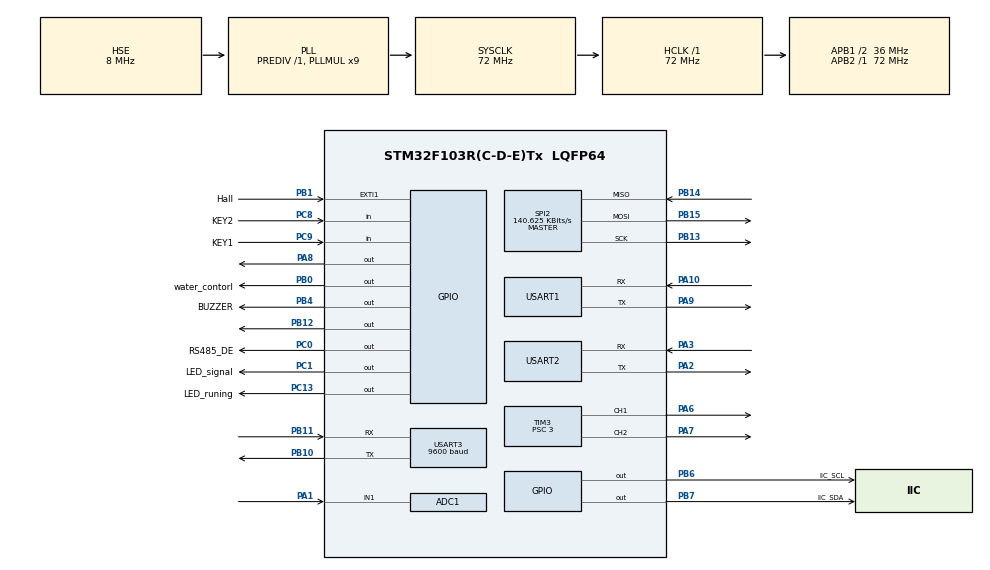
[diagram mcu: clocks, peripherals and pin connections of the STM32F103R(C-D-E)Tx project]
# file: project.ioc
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ADC1.Channel-2\#ChannelRegularConversion=ADC_CHANNEL_1
ADC1.NbrOfConversionFlag=1
ADC1.Rank-2\#ChannelRegularConversion=1
ADC1.SamplingTime-2\#ChannelRegularConversion=ADC_SAMPLETIME_55CYCLES_5
ADC1.master=1
FREERTOS.Mutexes01=I2C_mutex,Dynamic,NULL,Available
FREERTOS.Tasks01=defaultTask,24,384,StartDefaultTask,Default,NULL,Dynamic,NULL,NULL;task_collect,27,192,StartTaskCollect,Default,NULL,Dynamic,NULL,NULL;task_control,36,256,StartTaskControl,Default,NULL,Dynamic,NULL,NULL;task_show,18,256,StartTaskShow,Default,NULL,Dynamic,NULL,NULL
FREERTOS.configCHECK_FOR_STACK_OVERFLOW=2
FREERTOS.configTOTAL_HEAP_SIZE=16384
Mcu.Family=STM32F1
Mcu.Name=STM32F103R(C-D-E)Tx
Mcu.Package=LQFP64
NVIC.EXTI1_IRQn=true\:5\:0\:true\:false\:true\:true\:true\:true\:true
NVIC.PriorityGroup=NVIC_PRIORITYGROUP_4
NVIC.TIM2_IRQn=true\:5\:0\:false\:false\:true\:true\:true\:true\:true
NVIC.TIM4_IRQn=true\:15\:0\:false\:false\:true\:false\:false\:true\:true
NVIC.TimeBase=TIM4_IRQn
NVIC.TimeBaseIP=TIM4
NVIC.USART1_IRQn=true\:5\:0\:false\:false\:true\:true\:true\:true\:true
NVIC.USART2_IRQn=true\:5\:0\:true\:false\:true\:true\:true\:true\:true
NVIC.USART3_IRQn=true\:5\:0\:true\:false\:true\:true\:true\:true\:true
PA1.Signal=ADCx_IN1
PA10.Mode=Asynchronous
PA10.Signal=USART1_RX
PA13.Mode=Serial_Wire
PA13.Signal=SYS_JTMS-SWDIO
PA14.Mode=Serial_Wire
PA14.Signal=SYS_JTCK-SWCLK
PA2.Mode=Asynchronous
PA2.Signal=USART2_TX
PA3.Mode=Asynchronous
PA3.Signal=USART2_RX
PA6.Signal=S_TIM3_CH1
PA7.Signal=S_TIM3_CH2
PA8.Signal=GPIO_Output
PA9.Mode=Asynchronous
PA9.Signal=USART1_TX
PB0.GPIO_Label=water_contorl
PB0.Signal=GPIO_Output
PB1.GPIO_Label=Hall
PB1.GPIO_ModeDefaultEXTI=GPIO_MODE_IT_RISING
PB1.GPIO_PuPd=GPIO_PULLUP
PB1.Signal=GPXTI1
PB10.Mode=Asynchronous
PB10.Signal=USART3_TX
PB11.Mode=Asynchronous
PB11.Signal=USART3_RX
PB12.PinState=GPIO_PIN_SET
PB12.Signal=GPIO_Output
PB13.Mode=Full_Duplex_Master
PB13.Signal=SPI2_SCK
PB14.GPIO_PuPd=GPIO_PULLUP
PB14.Mode=Full_Duplex_Master
PB14.Signal=SPI2_MISO
PB15.Mode=Full_Duplex_Master
PB15.Signal=SPI2_MOSI
PB4.GPIO_Label=BUZZER
PB4.Signal=GPIO_Output
PB6.GPIO_Label=IIC_SCL
PB6.Signal=GPIO_Output
PB7.GPIO_Label=IIC_SDA
PB7.GPIO_ModeDefaultOutputPP=GPIO_MODE_OUTPUT_OD
PB7.GPIO_PuPd=GPIO_NOPULL
PB7.Signal=GPIO_Output
PC0.GPIO_Label=RS485_DE
PC0.Signal=GPIO_Output
PC1.GPIO_Label=LED_signal
PC1.Signal=GPIO_Output
PC13-TAMPER-RTC.GPIO_Label=LED_runing
PC13-TAMPER-RTC.Signal=GPIO_Output
PC8.GPIO_Label=KEY2
PC8.GPIO_PuPd=GPIO_PULLUP
PC8.Signal=GPIO_Input
PC9.GPIO_Label=KEY1
PC9.GPIO_PuPd=GPIO_PULLUP
PC9.Signal=GPIO_Input
PD0-OSC_IN.Mode=HSE-External-Oscillator
PD0-OSC_IN.Signal=RCC_OSC_IN
PD1-OSC_OUT.Mode=HSE-External-Oscillator
PD1-OSC_OUT.Signal=RCC_OSC_OUT
ProjectManager.HeapSize=0x200
ProjectManager.StackSize=0x800
ProjectManager.TargetToolchain=MDK-ARM V5.32
RCC.ADCPresc=RCC_ADCPCLK2_DIV6
RCC.AHBFreq_Value=72000000
RCC.APB1CLKDivider=RCC_HCLK_DIV2
RCC.APB1Freq_Value=36000000
RCC.APB1TimFreq_Value=72000000
RCC.APB2Freq_Value=72000000
RCC.APB2TimFreq_Value=72000000
RCC.HCLKFreq_Value=72000000
RCC.PLLMUL=RCC_PLL_MUL9
RCC.PLLSourceVirtual=RCC_PLLSOURCE_HSE
RCC.SYSCLKFreq_VALUE=72000000
RCC.SYSCLKSource=RCC_SYSCLKSOURCE_PLLCLK
RCC.USBFreq_Value=72000000
SH.ADCx_IN1.0=ADC1_IN1,IN1
SH.S_TIM3_CH1.0=TIM3_CH1,PWM Generation1 CH1
SH.S_TIM3_CH2.0=TIM3_CH2,PWM Generation2 CH2
SPI2.BaudRatePrescaler=SPI_BAUDRATEPRESCALER_256
SPI2.CalculateBaudRate=140.625 KBits/s
SPI2.Direction=SPI_DIRECTION_2LINES
SPI2.Mode=SPI_MODE_MASTER
SPI2.VirtualType=VM_MASTER
TIM3.AutoReloadPreload=TIM_AUTORELOAD_PRELOAD_ENABLE
TIM3.Channel-PWM\ Generation1\ CH1=TIM_CHANNEL_1
TIM3.Channel-PWM\ Generation2\ CH2=TIM_CHANNEL_2
TIM3.Period=899
TIM3.Prescaler=3
USART1.VirtualMode=VM_ASYNC
USART2.VirtualMode=VM_ASYNC
USART3.BaudRate=9600
USART3.VirtualMode=VM_ASYNC
VP_FATFS_VS_Generic.Mode=User_defined
VP_FREERTOS_VS_CMSIS_V2.Mode=CMSIS_V2
VP_SYS_VS_tim4.Mode=TIM4
VP_TIM2_VS_ClockSourceINT.Mode=Internal
board=custom

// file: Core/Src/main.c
/* USER CODE BEGIN Header */
/**
  ******************************************************************************
  * @file           : main.c
  * @brief          : Main program body
  ******************************************************************************
  * @attention
  *
  * Copyright (c) 2026 STMicroelectronics.
  * All rights reserved.
  *
  * This software is licensed under terms that can be found in the LICENSE file
  * in the root directory of this software component.
  * If no LICENSE file comes with this software, it is provided AS-IS.
  *
  ******************************************************************************
  */
/* USER CODE END Header */
#include "main.h"
#include "cmsis_os.h"
#include "adc.h"
#include "fatfs.h"
#include "spi.h"
#include "tim.h"
#include "usart.h"
#include "gpio.h"

/* USER CODE BEGIN Includes */
#include <stdio.h>
#include "log.h"
#include "mb.h"   /* Modbus 协议栈头(内含 port.h 类型定义 + mbport.h 接口声明) */
/* USER CODE END Includes */

/* USER CODE BEGIN PD */
/* 栈金丝雀:栈大小必须与 startup 文件 Stack_Size 一致(App:0x800=2KB,
   2026-08-18 从 1KB 加大——HAL 初始化+printf 链实际用量比 1KB 紧张,
   实测打印曾出现扫描越界,先给足余量再谈检测);
   栈底 = 栈顶(链接器符号 __initial_sp) - 栈大小,不硬编码地址
   (代码改动会移动栈位置,硬编码必错) */
#define STACK_SIZE_BYTES  (2048u)
#define STACK_BOTTOM      ((uint32_t)&__initial_sp - STACK_SIZE_BYTES)
#define CANARY_WORD       0xA5A5A5A5u   /* 哨兵模式 */
/* USER CODE END PD */

/* USER CODE BEGIN PV */
/* 诊断:填哨兵时的初始化栈用量(栈顶-当时SP)。定义在 USER CODE BEGIN 4,
   此处提前声明——BEGIN 2 的 LOG_INFO 要打印它(调用早于定义会隐式声明报错) */
static uint32_t g_canary_sp_depth;
extern uint32_t __initial_sp;   /* 栈顶(startup 文件导出的标号)。提前声明:BEGIN 1
                                   的 canary_init 展开 STACK_BOTTOM 宏要用(定义在 BEGIN 4) */
/* USER CODE END PV */

void SystemClock_Config(void);
void MX_FREERTOS_Init(void);
/* USER CODE BEGIN PFP */
static void stack_canary_init(void);      /* 栈金丝雀:填哨兵(实现见 USER CODE BEGIN 4) */
static uint32_t stack_used_peak(void);    /* 栈金丝雀:历史最深使用,已用字节(实现见 USER CODE BEGIN 4) */
/* USER CODE END PFP */

int main(void)
{

  /* USER CODE BEGIN 1 */
  /* OTA 双分区:向量表由 Boot 跳转前设置(Boot/main.c jump_to_app:
     SCB->VTOR = 目标分区地址+0x200,住 A 设 0x08010200、住 B 设 0x08020200),
     App 不再自设 VTOR。
     2026-08-19 修复:原代码 SCB->VTOR = Image$$ER_IROM1$$Base 是编译时常量
     (恒=0x08010200,旧注释"随烧录位置跟随"是错的)——从 B 区运行时会把 Boot
     设好的正确值改回 A 区,中断向量指 A 区旧固件(靠旧固件碰巧兼容才没炸,
     A 区损坏则 B 区运行时中断必 HardFault)。删掉后双分区都真正正确。 */
  /* 栈金丝雀:填哨兵(必须在 HAL_Init 之前!实测 2026-08-18:放 BEGIN 2 太晚,
     HAL 初始化期的栈使用不被哨兵覆盖,used 只显示 8B 假象;
     放这里才能让哨兵覆盖初始化期,扫描才看得到真实峰值——与 Boot 同款时机) */
  stack_canary_init();
  /* USER CODE END 1 */

  /* MCU Configuration--------------------------------------------------------*/

  /* Reset of all peripherals, Initializes the Flash interface and the Systick. */
  HAL_Init();

  /* Configure the system clock */
  SystemClock_Config();

  /* Initialize all configured peripherals */
  MX_GPIO_Init();
  MX_ADC1_Init();
  MX_TIM3_Init();
  MX_USART2_UART_Init();
  MX_USART3_UART_Init();
  MX_USART1_UART_Init();
  MX_TIM2_Init();
  MX_SPI2_Init();
  MX_FATFS_Init();
  /* USER CODE BEGIN 2 */
  log_init();   /* 初始化日志系统（必须在调度器启动前调用） */
  /* 打印 MSP 栈真实使用:used=已用字节/总字节;init_sp=填哨兵时刻的栈深度
     (填哨兵已提前到 BEGIN 1,此时扫描才看得到 HAL 初始化期的真实用量;
     used 接近总大小说明初始化链栈紧张,栈还要加大) */
  LOG_INFO("stack: msp used=%luB/%uB (init_sp=%luB)",
           (unsigned long)stack_used_peak(), STACK_SIZE_BYTES,
           (unsigned long)g_canary_sp_depth);
  /* USER CODE END 2 */

  /* Init scheduler */
  osKernelInitialize();  /* Call init function for freertos objects (in cmsis_os2.c) */
  MX_FREERTOS_Init();

  /* Start scheduler */
  osKernelStart();

  /* We should never get here as control is now taken by the scheduler */

  /* Infinite loop */
  /* USER CODE BEGIN WHILE */
  /* 注意：osKernelStart() 启动调度器后永不返回，
     用户代码必须写在任务函数（freertos.c 的 StartDefaultTask）里 */
  while (1)
  {
    /* USER CODE END WHILE */

  }
}

void SystemClock_Config(void)
{
  RCC_OscInitTypeDef RCC_OscInitStruct = {0};
  RCC_ClkInitTypeDef RCC_ClkInitStruct = {0};
  RCC_PeriphCLKInitTypeDef PeriphClkInit = {0};

  /** Initializes the RCC Oscillators according to the specified parameters
  * in the RCC_OscInitTypeDef structure.
  */
  RCC_OscInitStruct.OscillatorType = RCC_OSCILLATORTYPE_HSE;
  RCC_OscInitStruct.HSEState = RCC_HSE_ON;
  RCC_OscInitStruct.HSEPredivValue = RCC_HSE_PREDIV_DIV1;
  RCC_OscInitStruct.HSIState = RCC_HSI_ON;
  RCC_OscInitStruct.PLL.PLLState = RCC_PLL_ON;
  RCC_OscInitStruct.PLL.PLLSource = RCC_PLLSOURCE_HSE;
  RCC_OscInitStruct.PLL.PLLMUL = RCC_PLL_MUL9;
  if (HAL_RCC_OscConfig(&RCC_OscInitStruct) != HAL_OK)
  {
    Error_Handler();
  }

  /** Initializes the CPU, AHB and APB buses clocks
  */
  RCC_ClkInitStruct.ClockType = RCC_CLOCKTYPE_HCLK|RCC_CLOCKTYPE_SYSCLK
                              |RCC_CLOCKTYPE_PCLK1|RCC_CLOCKTYPE_PCLK2;
  RCC_ClkInitStruct.SYSCLKSource = RCC_SYSCLKSOURCE_PLLCLK;
  RCC_ClkInitStruct.AHBCLKDivider = RCC_SYSCLK_DIV1;
  RCC_ClkInitStruct.APB1CLKDivider = RCC_HCLK_DIV2;
  RCC_ClkInitStruct.APB2CLKDivider = RCC_HCLK_DIV1;

  if (HAL_RCC_ClockConfig(&RCC_ClkInitStruct, FLASH_LATENCY_2) != HAL_OK)
  {
    Error_Handler();
  }
  PeriphClkInit.PeriphClockSelection = RCC_PERIPHCLK_ADC;
  PeriphClkInit.AdcClockSelection = RCC_ADCPCLK2_DIV6;
  if (HAL_RCCEx_PeriphCLKConfig(&PeriphClkInit) != HAL_OK)
  {
    Error_Handler();
  }
}

/* USER CODE BEGIN 4 */
/* ==================== 栈金丝雀:MSP 栈运行时溢出检测 ==================== */
/* 说明:FreeRTOS 任务栈溢出已由 vApplicationStackOverflowHook(freertos.c
   USER CODE 区)负责;这里管 MSP 栈(2KB)——调度器启动前的 HAL 初始化、
   运行期中断嵌套都用它。F103 无 MPU 硬件拦截,金丝雀是裸机最便宜
   的运行时防线(哨兵被踩是永久印记,事后检查也能发现)。
   2026-08-18 修复:① 扫描补栈顶边界(原无边界检查,曾越界读);
   ② 返回语义改为"已用字节"(原返回的是"未用",打印标签却写 peak,
   实测 Boot 打印 1708 实为未用,App 打印 1024 实为扫描越界——误导) */

extern uint32_t __initial_sp;   /* 栈顶(startup 文件导出的标号) */

static uint8_t g_stack_overflowed = 0;   /* 溢出标志:只报一次 */

static uint32_t g_canary_sp_depth = 0;   /* 诊断:填哨兵时的初始化栈用量(栈顶-当时SP) */

static void stack_canary_init(void)      /* 填哨兵:只填 [栈底, 当前SP) 未用区 */
{
  uint32_t *p = (uint32_t *)STACK_BOTTOM;//栈底
  uint32_t *sp = (uint32_t *)__get_MSP();//当前SP
  g_canary_sp_depth = (uint32_t)&__initial_sp - (uint32_t)sp; /* 记录初始化阶段栈用量 */
  while (p < sp)
  {
    *p++ = CANARY_WORD;
  }
}

static uint32_t stack_used_peak(void)    /* 已用字节 = 栈顶 - 最深水位(第一个非哨兵) */
{
  uint32_t *p = (uint32_t *)STACK_BOTTOM;
  uint32_t *stack_top = (uint32_t *)&__initial_sp;  /* 栈顶:扫描不许越过(栈外是.bss等) */
  while (*p == CANARY_WORD && p < stack_top)//遍历栈底向上,找第一个被踩的哨兵
  {
    p++;
  }
  return (uint32_t)stack_top - (uint32_t)p;  /* 栈顶-最深水位 = 已用字节 */
}

void stack_overflow_check(void)          /* 跨文件调用(控制任务每 100ms 一拍) */
{
  if (g_stack_overflowed)
  {
    return;
  }
  if (*(uint32_t *)STACK_BOTTOM != CANARY_WORD)
  {
    g_stack_overflowed = 1;
    LOG_WARN("stack overflow: MSP bottom canary destroyed!");
  }
}
/* USER CODE END 4 */

void HAL_TIM_PeriodElapsedCallback(TIM_HandleTypeDef *htim)
{
  /* USER CODE BEGIN Callback 0 */
  if (htim->Instance == TIM2)     /* Modbus 3.5T 字符超时:帧收完(porttimer.c) */
  {
    vMBPortTimersDisable();       /* 单次超时,停表 */
    pxMBPortCBTimerExpired();     /* 通知协议栈:这一帧收完了 */
  }
  /* USER CODE END Callback 0 */
  if (htim->Instance == TIM4)
  {
    HAL_IncTick();
  }
}

void Error_Handler(void)
{
  __disable_irq();
  while (1)
  {
  }
}

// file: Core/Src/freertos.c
/* USER CODE BEGIN Header */
/**
  ******************************************************************************
  * File Name          : freertos.c
  * Description        : Code for freertos applications
  ******************************************************************************
  * @attention
  *
  * Copyright (c) 2026 STMicroelectronics.
  * All rights reserved.
  *
  * This software is licensed under terms that can be found in the LICENSE file
  * in the root directory of this software component.
  * If no LICENSE file comes with this software, it is provided AS-IS.
  *
  ******************************************************************************
  */
/* USER CODE END Header */

#include "FreeRTOS.h"
#include "task.h"
#include "main.h"
#include "cmsis_os.h"

/* USER CODE BEGIN Includes */
#include "log.h"
#include "MYOLED.h"
#include "OLED_Data.h"
#include "soil_moisture.h"
#include "BH1750.h"
#include "AHT20.h"
#include "rule_engine.h"
#include "MySensor.h"
#include "light.h"
#include "pump.h"
#include "fan.h"
#include "dsp_soft_IIC.h"
#include "bsp_hal_counter.h"
#include "stall_detect.h"
#include "buzzer.h"
#include "oled_page.h"
#include "debug_cmd.h"
#include "mb.h"
#include "modbus_reg.h"
#include "param.h"
#include "PID.h"
#include "nvs.h"
#include "sd_log.h"
#include "ota.h"
extern void stack_overflow_check(void);   /* 栈金丝雀周期检查(main.c USER CODE 区定义) */
/* USER CODE END Includes */

/* USER CODE BEGIN Variables */
/* 猫动画帧表:按播放顺序排列(指针数组,零拷贝,仅占 8*4=32 字节) */
const uint8_t *const cat_frames[] = {
	bitmap_1,  bitmap_3,  bitmap_6,  bitmap_8,
	bitmap_10, bitmap_13, bitmap_15, bitmap_18
};
#define CAT_FRAME_COUNT  (sizeof(cat_frames) / sizeof(cat_frames[0]))	/* 自动计算帧数,加帧删帧不用改循环 */

/* 风机目标占空比(0~100):调试命令(手动模式)可修改,温度 PID 接入后由 PID 写 */
volatile uint8_t g_fan_duty = 0;

/* USER CODE END Variables */
/* Definitions for defaultTask */
osThreadId_t defaultTaskHandle;
const osThreadAttr_t defaultTask_attributes = {
  .name = "defaultTask",
  .stack_size = 384 * 4,
  .priority = (osPriority_t) osPriorityNormal,
};
/* Definitions for task_collect */
osThreadId_t task_collectHandle;
const osThreadAttr_t task_collect_attributes = {
  .name = "task_collect",
  .stack_size = 192 * 4,
  .priority = (osPriority_t) osPriorityNormal3,
};
/* Definitions for task_control */
osThreadId_t task_controlHandle;
const osThreadAttr_t task_control_attributes = {
  .name = "task_control",
  .stack_size = 256 * 4,
  .priority = (osPriority_t) osPriorityAboveNormal4,
};
/* Definitions for task_show */
osThreadId_t task_showHandle;
const osThreadAttr_t task_show_attributes = {
  .name = "task_show",
  .stack_size = 256 * 4,
  .priority = (osPriority_t) osPriorityBelowNormal2,
};
/* Definitions for I2C_mutex */
osMutexId_t I2C_mutexHandle;
const osMutexAttr_t I2C_mutex_attributes = {
  .name = "I2C_mutex"
};

/* USER CODE BEGIN FunctionPrototypes */
void DebugCmd_Task(void *argument);   /* 调试命令任务体(自创建任务,原型必须放 USER CODE 区,防被 CubeMX 清掉) */
void Modbus_Task(void *argument);     /* Modbus 从机任务(自创建,同 debug_cmd 约定) */
/* USER CODE END FunctionPrototypes */

void StartDefaultTask(void *argument);
void StartTaskCollect(void *argument);
void StartTaskControl(void *argument);
void StartTaskShow(void *argument);

void MX_FREERTOS_Init(void); /* (MISRA C 2004 rule 8.1) */

/* Hook prototypes */
void vApplicationStackOverflowHook(xTaskHandle xTask, signed char *pcTaskName);

/* USER CODE BEGIN 4 */
void vApplicationStackOverflowHook(xTaskHandle xTask, signed char *pcTaskName)
{
   /* 栈溢出钩子:某任务栈写穿了才会进到这里(开发期必须开着)
      停死在这里,调试器看调用栈即可定位是哪个任务、哪一层调用 */
   __disable_irq();          /* 关中断,防止其他任务继续破坏现场 */
   while (1);
}
/* USER CODE END 4 */

void MX_FREERTOS_Init(void) {
  /* USER CODE BEGIN Init */
  log_init();   /* 初始化日志系统（必须在调度器启动前调用） */
  SDLog_Init(); /* 初始化 SD 卡日志队列与事件锁（必须在调度器启动前调用） */
  /* USER CODE END Init */
  /* Create the mutex(es) */
  /* creation of I2C_mutex */
  I2C_mutexHandle = osMutexNew(&I2C_mutex_attributes);

  /* Create the thread(s) */
  /* creation of defaultTask */
  defaultTaskHandle = osThreadNew(StartDefaultTask, NULL, &defaultTask_attributes);

  /* creation of task_collect */
  task_collectHandle = osThreadNew(StartTaskCollect, NULL, &task_collect_attributes);

  /* creation of task_control */
  task_controlHandle = osThreadNew(StartTaskControl, NULL, &task_control_attributes);

  /* creation of task_show */
  task_showHandle = osThreadNew(StartTaskShow, NULL, &task_show_attributes);

  /* USER CODE BEGIN RTOS_THREADS */
  /* 调试命令任务:串口命令解析(低优先级,响应慢无所谓) */
  const osThreadAttr_t debugCmd_attributes = {
    .name = "debug_cmd",
    .stack_size = 256 * 4,
    .priority = (osPriority_t) osPriorityNormal,
  };
  osThreadNew(DebugCmd_Task, NULL, &debugCmd_attributes);

  /* Modbus 从机任务:RS485 轮询(中优先级,文档 02 任务⑥) */
  const osThreadAttr_t modbus_attributes = {
    .name = "modbus",
    .stack_size = 256 * 4,
    .priority = (osPriority_t) osPriorityNormal,
  };
  osThreadNew(Modbus_Task, NULL, &modbus_attributes);

  /* SD 卡日志任务:挂载 + 攒批落盘(最低优先级,写盘耗时不抢占任何控制/采集任务)。
     栈给 2KB:f_mount/f_open 栈消耗大,别学其他任务只给 1KB */
  const osThreadAttr_t sdlog_attributes = {
    .name = "sd_log",
    .stack_size = 512 * 4,
    .priority = (osPriority_t) osPriorityBelowNormal1,
  };
  osThreadNew(SDLog_Task, NULL, &sdlog_attributes);
  /* USER CODE END RTOS_THREADS */

}

void StartDefaultTask(void *argument)
{
  /* USER CODE BEGIN StartDefaultTask */
  HAL_GPIO_WritePin(GPIOA, GPIO_PIN_8, GPIO_PIN_RESET);//设置PA8为低电平,检查一下芯片运行状态
  LOG_INFO("runing");       /* 示例:信息级日志,自动带时间戳 */
  MyI2C_Init();                 /* 软件 I2C(PB6/PB7) */
  OLED_Init();                  /* OLED 初始化 + 清屏 */
  AHT20_Init();                 /*温湿度传感器初始化*/
  BH1750_Init();                /*光照传感器初始化*/
  SoilMoisture_Init();         /*土壤湿度传感器初始化*/
  HAL_Counter_Init();          /* 霍尔脉冲计数清零(PB1/EXTI1) */
  StallDetect_Init();          /* 堵转检测状态机复位 */
  DebugCmd_Init();             /* 启动串口命令接收(USART1 中断) */
  OLED_Clear();
  osDelay(35);
  float Light;
  BH1750_Read(&Light);
  LOG_INFO("Light: %f \n", Light);
  float Moisture;
  SoilMoisture_Read(&Moisture);
  LOG_INFO("Moisture: %f \n", Moisture);
  float Temperature, Humidity;
  AHT20_Read(&Temperature, &Humidity);//往后面放，AHT20上电到采集数据响应比较慢
  LOG_INFO("Temperature: %f, Humidity: %f \n", Temperature, Humidity);
  /* 猫动画已交给 task_show,本任务保留做测试(如需 I2C 访问记得加锁) */
  /* Infinite loop */
  for(;;)
  {
    osDelay(100);
  }
  /* USER CODE END StartDefaultTask */
}

void StartTaskCollect(void *argument)
{
  /* USER CODE BEGIN StartTaskCollect */
  /* 采集任务:每 500ms 刷新一次传感器快照
     软件 I2C(PB6/PB7)是共享总线,读传感器前必须拿 I2C 锁,
     与显示任务(OLED 同总线)互斥,防止两个任务同时敲总线 */
  for(;;)
  {
    osMutexAcquire(I2C_mutexHandle, osWaitForever); /* 拿 I2C 总线锁 */
    MySensor_Update();                              /* 统一刷新快照(温湿度/光照/土壤) */
    osMutexRelease(I2C_mutexHandle);                /* 释放 I2C 总线锁 */

    Fan_UpdateRpm();                                /* 500ms 差分换算转速(霍尔计数,不走 I2C 无需锁) */

    SDLog_Snapshot();                               /* 推一条快照 CSV 行(读快照不碰 I2C,日志任务负责落盘) */

    osDelay(500);
  }
  /* USER CODE END StartTaskCollect */
}

void StartTaskControl(void *argument)
{
  /* USER CODE BEGIN StartTaskControl */
  /* 控制任务:100ms 精确节拍(osDelayUntil 防周期漂移,PID 积分项依赖它)
     温度 PID 每拍都算(文档《03》§2.2:控制周期 100ms,用最新快照);
     每 5 拍(500ms)评估一次规则引擎(文档:规则引擎 500ms 周期)。
     输出映射:规则开/关 → 补光 80%或 0%、水泵继电器;PID → 风机占空比
     注意:本任务不碰 I2C,只读快照、写执行器,无需 I2C 锁 */
  const uint32_t period = 100;           /* 节拍 100ms */
  uint32_t lastWake = osKernelGetTickCount();
  uint8_t tickCnt = 0;                   /* 拍数计数,5 拍 = 500ms */
  uint8_t fan_out;                       /* 堵转检测后的实际输出占空比 */
  uint8_t last_mode = MODE_AUTO;         /* 上一拍模式:检测模式切换(写 40005 后) */
  stall_state_t last_stall = STALL_NORMAL; /* 上一拍堵转状态:检测堵转跳变(推 SD 日志事件) */
  float current_temperature;             /* 本拍温度快照(取一次给 PID 用) */

  Param_Init();                          /* 参数区默认值 + PID 实例工作参数 */
  NVS_Init();                            /* 上电读 Flash:有保存过的参数则覆盖默认值 */

  for(;;)
  {
    stack_overflow_check();                   /* 栈金丝雀:MSP 中断栈溢出印记检查(仅溢出时打日志) */
    uint8_t current_mode = Param_GetMode();   /* 本拍模式(Modbus 写 40005 后下拍生效) */

    Param_Sync();                        /* Modbus 改过 PID 参数 → 刷进实例并清积分 */
    NVS_Tick();                          /* 参数变更防抖 2s → 落盘 Flash(掉电不丢) */
    OTA_Poll();                          /* 升级触发后 200ms 复位倒计时(Modbus 40020/debug ota 触发) */

    if (current_mode != last_mode)       /* 模式切换:旧模式的执行器状态和积分作废 */
    {
      last_mode = current_mode;
      RuleEngine_Init();                 /* 规则引擎状态表清零(文档:模式切换时调用) */
      PID_Reset(&g_pid);                 /* 清积分,防止切换期间攒的误差突跳输出 */

      /* 模式切换事件写入 SD 日志(事件列),便于事后查"什么时候切的手动" */
      if (current_mode == MODE_MANUAL)  { SDLog_Event("MODE_MANUAL"); }
      else if (current_mode == MODE_STANDBY) { SDLog_Event("MODE_STANDBY"); }
      else                              { SDLog_Event("MODE_AUTO"); }
    }

    if (current_mode == MODE_AUTO)       /* 自动:规则引擎 + PID 全自动 */
    {
      if (++tickCnt >= 5)                /* 每 500ms 评估一次规则 */
      {
        tickCnt = 0;

        RuleEngine_Tick(MySensor_GetValue);              /* 规则引擎评估(读快照) */

        /* 执行器输出映射(文档 §3.3):规则状态 → 器件驱动 */
        Light_Control(RuleEngine_GetActuator(ACT_LIGHT) == ACT_STATE_ON);
        Pump_Control(RuleEngine_GetActuator(ACT_PUMP)   == ACT_STATE_ON);
      }

      /* 温度 PID(每拍 100ms) → g_fan_duty */
      current_temperature = MySensor_GetValue(SENSOR_TEMP);   /* 取本拍温度快照(采集任务 500ms 刷新,这里用最新值) */
      if (current_temperature == SENSOR_INVALID)   /* 温度传感器失效:安全态固定 30%(文档《03》§4.2) */
      {
        g_fan_duty = 30;
      }
      else if (current_temperature < g_pid.Target - Param_GetFanHyst())
      {                                  /* R1 滞回:温度 < 目标-温差 → 停转 */
        PID_Reset(&g_pid);               /* 停转区间积分不许继续往上顶,回温后平稳起步 */
        g_fan_duty = 0;
      }
      else
      {
        g_pid.Actual = current_temperature;  /* 把本拍温度喂给 PID */
        PID_Update(&g_pid);              /* 位置式 PID 计算,输出已限幅 0~100 */
        g_fan_duty = (uint8_t)g_pid.Out; /* PID 输出 → 风机目标占空比 */
      }
    }
    else if (current_mode == MODE_MANUAL)
    {
      /* 手动:规则引擎与 PID 全停,执行器由 Modbus 直接控制(文档《02》状态图)
         g_fan_duty 已在 modbus_reg.c 写 40006 时更新;线圈直接操作水泵/补光 */
    }
    else                                 /* 待机:全部执行器停止输出 */
    {
      g_fan_duty = 0;
      Light_Control(ACT_STATE_OFF);
      Pump_Control(ACT_STATE_OFF);
    }

    /* 堵转检测(100ms 节拍):堵转时强制停机,返回实际输出 */
    fan_out = StallDetect_Tick(g_fan_duty);
    Fan_Control(fan_out);
    /* 蜂鸣器:堵转/严重故障时报警 */
    Buzzer_Control(StallDetect_IsStalled());

    /* 堵转状态跳变 → SD 日志事件(只在跳变沿发,不重复刷屏) */
    stall_state_t current_stall = StallDetect_GetState();   /* 本拍堵转状态 */
    if (current_stall != last_stall)
    {
      last_stall = current_stall;
      if (current_stall == STALL_FAULT)        { SDLog_Event("FAN_STALL"); }        /* 堵转报警 */
      else if (current_stall == STALL_FAULT_SEVERE) { SDLog_Event("FAN_STALL_SEVERE"); } /* 严重堵转 */
      else if (current_stall == STALL_NORMAL)  { SDLog_Event("FAN_STALL_CLEAR"); }  /* 故障解除 */
    }

    lastWake += period;                  /* 绝对节拍递增(防周期漂移) */
    osDelayUntil(lastWake);              /* 睡到该绝对时刻,单参数版 */
  }
  /* USER CODE END StartTaskControl */
}

void StartTaskShow(void *argument)
{
  /* USER CODE BEGIN StartTaskShow */
  /* 显示任务:三页界面(低优先级)
     按键扫描 100ms(防抖切页),页面刷新 500ms
     OLED 走软件 I2C 同一条总线,写屏前必须拿 I2C 锁 */
  uint8_t showCnt = 0;                   /* 页刷新节拍:5×100ms = 500ms */

  for(;;)
  {
    osMutexAcquire(I2C_mutexHandle, osWaitForever);  /* 拿 I2C 总线锁 */
    OLED_Page_KeyScan();                             /* 按键扫描+切页(KEY1) */
    if (++showCnt >= 5)                              /* 每 500ms 刷一次页 */
    {
      showCnt = 0;
      OLED_Page_Show();                              /* 刷新当前页(读快照) */
    }
    osMutexRelease(I2C_mutexHandle);                 /* 释放 I2C 总线锁 */

    osDelay(100);
  }
  /* USER CODE END StartTaskShow */
}

/* USER CODE BEGIN Application */
/* Modbus 从机任务:RTU,从站地址 4,9600bps 8N1(文档《06》)
   初始化 eMBInit/eMBEnable 放任务里(需要调度器已启动),
   轮询周期 1ms:RTU 帧靠 3.5T 超时(TIM2)判定结束,轮询及时处理 */
void Modbus_Task(void *argument)
{

    eMBInit(MB_RTU, Param_GetSlaveAddr(), 0, 9600, MB_PAR_NONE);   /* 从站地址:参数区(默认 4,写 40012 后重启生效) */
    eMBEnable();                                 /* 使能协议栈 */

    for (;;)
    {
        eMBPoll();      /* 协议栈轮询:取事件、处理帧、回响应 */
        osDelay(1);
    }
}
/* USER CODE END Application */
